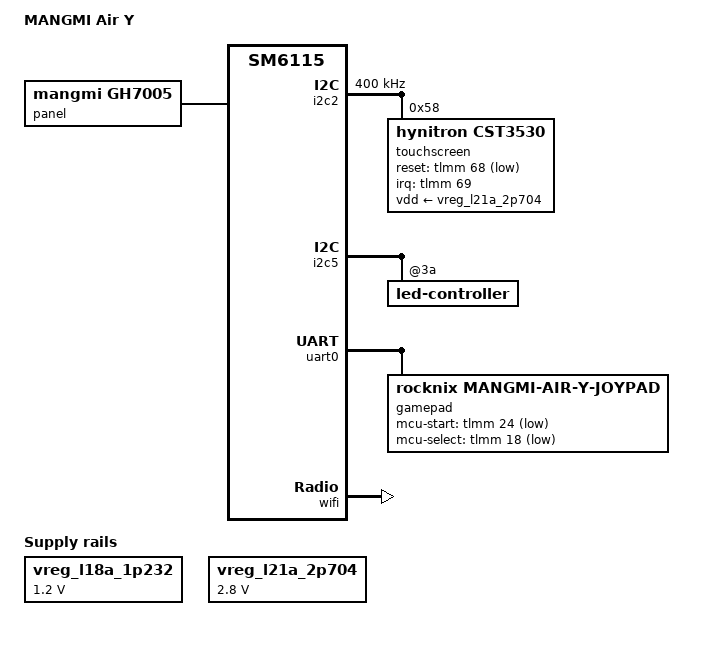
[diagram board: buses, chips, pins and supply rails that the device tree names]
// SPDX-License-Identifier: BSD-3-Clause
/*
 * Copyright (c) 2026, ROCKNIX
 */

/dts-v1/;

#include "sm6115-mangmi-air-x-base.dtsi"

/ {
	model = "MANGMI Air Y";
	compatible = "mangmi,sm6115-air-y", "qcom,sm6115";

	/delete-node/ multi-led-r1;
	/delete-node/ multi-led-r2;
	/delete-node/ multi-led-r3;
	/delete-node/ multi-led-r4;
	/delete-node/ multi-led-r5;
	/delete-node/ multi-led-r6;
	/delete-node/ multi-led-r7;
	/delete-node/ multi-led-r8;
	/delete-node/ multi-led-r9;

	multi-led-l1 { leds = <&left_red_7>, <&left_green_7>, <&left_blue_7>; };
	multi-led-l2 { leds = <&left_red_8>, <&left_green_8>, <&left_blue_8>; };
	multi-led-l3 { leds = <&left_red_4>, <&left_green_4>, <&left_blue_4>; };
	multi-led-l4 { leds = <&left_red_3>, <&left_green_3>, <&left_blue_3>; };
	multi-led-l5 { leds = <&left_red_2>, <&left_green_2>, <&left_blue_2>; };
	multi-led-l6 { leds = <&left_red_1>, <&left_green_1>, <&left_blue_1>; };
	multi-led-l7 { leds = <&left_red_5>, <&left_green_5>, <&left_blue_5>; };
	multi-led-l8 { leds = <&left_red_6>, <&left_green_6>, <&left_blue_6>; };
	multi-led-l9 { leds = <&left_red_9>, <&left_green_9>, <&left_blue_9>; };
	multi-led-l10 { compatible = "leds-group-multicolor"; color = <LED_COLOR_ID_RGB>; function = "l10"; leds = <&left_red_10>, <&left_green_10>, <&left_blue_10>; };

	gpio-keys {
		pinctrl-0 = <&vol_up_n>, <&wheel_keys_default>;

		key-volume-up {
			label = "Wheel Press";
			linux,code = <KEY_MUTE>;
		};

		key-wheel-up {
			label = "Volume Up";
			linux,code = <KEY_VOLUMEUP>;
			gpios = <&tlmm 0 GPIO_ACTIVE_LOW>;
			debounce-interval = <15>;
		};

		key-wheel-down {
			label = "Volume Down";
			linux,code = <KEY_VOLUMEDOWN>;
			gpios = <&tlmm 19 GPIO_ACTIVE_LOW>;
			debounce-interval = <15>;
		};
	};

	sound {
		model = "MangmiAirY";

		widgets = "Speaker", "SPK_L Speaker";
		pin-switches = "SPK_L Speaker";
		audio-routing = "SPK_L Speaker", "SPK_L DAC Output",
				"Headphone Jack", "HPOL",
				"Headphone Jack", "HPOR";

		sec-mi2s-playback-dai-link {
			codec {
				sound-dai = <&aw88261_l>;
			};
		};
	};
};

&aw88261_l {
	/delete-property/ awinic,sync-flag;
};

&battery {
	charge-term-current-microamp = <100000>;
};

&fuel_gauge {
	cellwise,battery-profile = /bits/ 8 <
		0x5a 0x00 0x00 0x00 0x00 0x00 0x00 0x00
		0xae 0xb2 0xaf 0xbf 0xa6 0xa2 0xd3 0xb6
		0x9e 0xff 0xff 0xc2 0x9b 0x7e 0x65 0x5c
		0x5a 0x5a 0x5a 0xbe 0x88 0xdd 0xe4 0xff
		0xff 0xff 0xe2 0xd2 0xd8 0xdb 0xdb 0xd4
		0xcf 0xcd 0xcf 0xd4 0xbf 0x9c 0x89 0x7d
		0x79 0x79 0x89 0x9d 0xb9 0xc3 0xad 0x49
		0x20 0x00 0xab 0x10 0x00 0xb0 0x16 0x00
		0x00 0x00 0x64 0x83 0xd2 0xda 0x00 0x00
		0x00 0x00 0x00 0x00 0x00 0x00 0x00 0xc0>;
};

&i2c1 {
	/delete-node/ audio-codec@35;
};

&i2c2 {
	clock-frequency = <400000>;
	status = "okay";

	touchscreen@58 {
		compatible = "hynitron,cst3530";
		reg = <0x58>;

		interrupts-extended = <&tlmm 69 IRQ_TYPE_EDGE_FALLING>;
		reset-gpios = <&tlmm 68 GPIO_ACTIVE_LOW>;
		vdd-supply = <&vreg_l21a_2p704>;

		touchscreen-size-x = <1280>;
		touchscreen-size-y = <960>;

		panel = <&panel>;

		pinctrl-names = "default";
		pinctrl-0 = <&ts_irq_default>;
	};
};

&i2c5 {
	/delete-node/ led-controller@3b;

	led-controller@3a {
		left_blue_10: led@1b { reg = <0x1b>; color = <LED_COLOR_ID_BLUE>; label = "left_blue_10"; led-max-microamp = <3400>; };
		left_green_10: led@1c { reg = <0x1c>; color = <LED_COLOR_ID_GREEN>; label = "left_green_10"; led-max-microamp = <3400>; };
		left_red_10: led@1d { reg = <0x1d>; color = <LED_COLOR_ID_RED>; label = "left_red_10"; led-max-microamp = <3400>; };
	};
};

&panel {
	compatible = "mangmi,gh7005";
	/delete-property/ rotation;
};

&panel_backlight {
	brightness-levels = <0 429>;
	num-interpolated-steps = <429>;
	brightness-scale = <511>;
	max-brightness = <429>;
	default-brightness-level = <429>;
};

&pon_resin {
	/* batocera - user button opens the control center via hotkeygen */
	linux,code = <KEY_CONTEXT_MENU>;
};

&qup_i2c2_default {
	/delete-property/ bias-pull-up;
	bias-disable;
};

&spi2 {
	status = "disabled";
};

&tlmm {
	wheel_keys_default: wheel-keys-default-state {
		pins = "gpio0", "gpio19";
		function = "gpio";
		drive-strength = <2>;
		bias-pull-up;
		input-enable;
	};
};

&ts_irq_default {
	/delete-property/ bias-pull-up;
	bias-disable;
};

&uart0 {
	gamepad {
		compatible = "rocknix,mangmi-air-y-joypad";
		mcu-start-gpios = <&tlmm 24 GPIO_ACTIVE_LOW>;
		mcu-select-gpios = <&tlmm 18 GPIO_ACTIVE_LOW>;
	};
};

&vreg_l18a_1p232 {
	regulator-min-microvolt = <1200000>;
	regulator-max-microvolt = <1200000>;
};

&vreg_l21a_2p704 {
	regulator-min-microvolt = <2800000>;
	regulator-max-microvolt = <2800000>;
};

&wifi {
	firmware-name = "mangmi-air-y";
};
